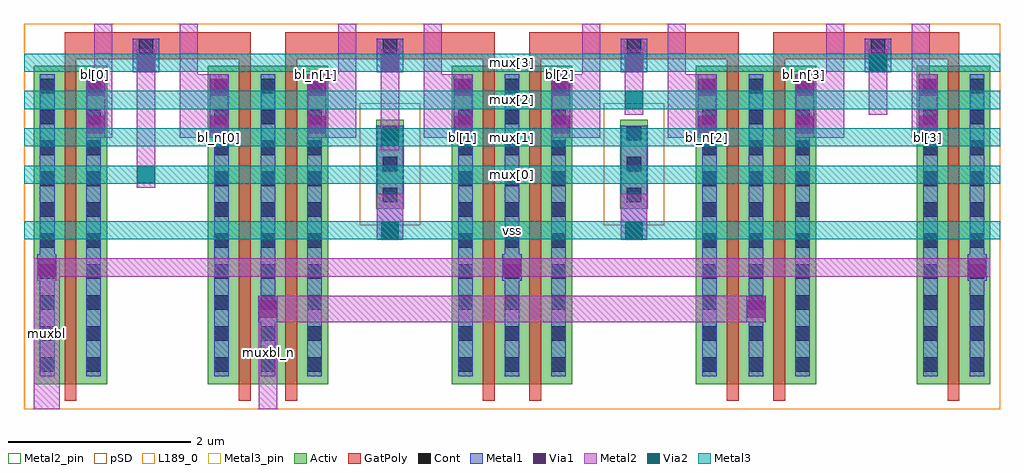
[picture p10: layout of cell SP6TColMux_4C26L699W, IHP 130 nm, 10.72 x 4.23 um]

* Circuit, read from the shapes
.subckt SP6TColMux_4C26L699W bl[0] bl[1] bl[2] bl[3] bl_n[0] bl_n[1] bl_n[2] bl_n[3] mux[0] mux[1] mux[2] mux[3] muxbl muxbl_n vss
XM1 bl[0] mux[0] muxbl vss sg13_lv_nmos w=3.5u l=0.13u
XM2 muxbl_n mux[0] bl_n[0] vss sg13_lv_nmos w=3.5u l=0.13u
XM3 bl_n[1] mux[1] muxbl_n vss sg13_lv_nmos w=3.5u l=0.13u
XM4 muxbl mux[1] bl[1] vss sg13_lv_nmos w=3.5u l=0.13u
XM5 bl[2] mux[2] muxbl vss sg13_lv_nmos w=3.5u l=0.13u
XM6 muxbl_n mux[2] bl_n[2] vss sg13_lv_nmos w=3.5u l=0.13u
XM7 bl_n[3] mux[3] muxbl_n vss sg13_lv_nmos w=3.5u l=0.13u
XM8 muxbl mux[3] bl[3] vss sg13_lv_nmos w=3.5u l=0.13u
.ends

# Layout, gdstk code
import gdstk
lib = gdstk.Library(unit=1e-6, precision=1e-09)
def R(c, l, rs):  # rectangles x0, y0, x1, y1
    for r in rs: c.add(gdstk.rectangle(r[:2], r[2:], *l))
def A(c, l, x, y, w, h, nx, ny, dx, dy):  # array of equal rectangles
    R(c, l, [(x+i*dx, y+j*dy, x+i*dx+w, y+j*dy+h) for i in range(nx) for j in range(ny)])
def P(c, l, *ps):  # polygons
    for p in ps: c.add(gdstk.Polygon(p, *l))
Activ = (1, 0)
GatPoly = (5, 0)
Cont = (6, 0)
Metal1 = (8, 0)
Metal2 = (10, 0)
Metal2_pin = (10, 2)
pSD = (14, 0)
Via1 = (19, 0)
Via2 = (29, 0)
Metal3 = (30, 0)
Metal3_pin = (30, 2)
L189_0 = (189, 0)

sp6tcolmux_4c26l699w = lib.new_cell('SP6TColMux_4C26L699W')
A(sp6tcolmux_4c26l699w, Activ, 2.02, 0.27, 1.32, 3.5, 3, 1, 2.68, 0)
R(sp6tcolmux_4c26l699w, Activ, [(0.105,0.27,0.915,3.77), (9.805,0.27,10.615,3.77), (3.87,2.2,4.17,3.18), (6.55,2.2,6.85,3.18)])
P(sp6tcolmux_4c26l699w, GatPoly, [(0.445,0.09),(0.445,4.14),(2.49,4.14),(2.49,0.09),(2.36,0.09),(2.36,3.84),(0.575,3.84),(0.575,0.09)],
  [(8.23,0.09),(8.23,4.14),(10.275,4.14),(10.275,0.09),(10.145,0.09),(10.145,3.84),(8.36,3.84),(8.36,0.09)],
  [(2.87,0.09),(2.87,4.14),(5.17,4.14),(5.17,0.09),(5.04,0.09),(5.04,3.84),(3,3.84),(3,0.09)],
  [(5.55,0.09),(5.55,4.14),(7.85,4.14),(7.85,0.09),(7.72,0.09),(7.72,3.84),(5.68,3.84),(5.68,0.09)])
A(sp6tcolmux_4c26l699w, Cont, 0.175, 0.41, 0.16, 0.16, 1, 10, 0, 0.34)
A(sp6tcolmux_4c26l699w, Cont, 0.685, 0.41, 0.16, 0.16, 1, 10, 0, 0.34)
A(sp6tcolmux_4c26l699w, Cont, 2.09, 0.41, 0.16, 0.16, 3, 10, 0.51, 0.34)
A(sp6tcolmux_4c26l699w, Cont, 4.77, 0.41, 0.16, 0.16, 3, 10, 0.51, 0.34)
A(sp6tcolmux_4c26l699w, Cont, 7.45, 0.41, 0.16, 0.16, 3, 10, 0.51, 0.34)
A(sp6tcolmux_4c26l699w, Cont, 9.875, 0.41, 0.16, 0.16, 1, 10, 0, 0.34)
A(sp6tcolmux_4c26l699w, Cont, 10.385, 0.41, 0.16, 0.16, 1, 10, 0, 0.34)
A(sp6tcolmux_4c26l699w, Cont, 3.94, 2.27, 0.16, 0.16, 1, 3, 0, 0.34)
A(sp6tcolmux_4c26l699w, Cont, 6.62, 2.27, 0.16, 0.16, 1, 3, 0, 0.34)
A(sp6tcolmux_4c26l699w, Cont, 1.26, 3.91, 0.16, 0.16, 4, 1, 2.68, 0)
A(sp6tcolmux_4c26l699w, Metal1, 1.195, 3.7, 0.29, 0.37, 4, 1, 2.68, 0)
R(sp6tcolmux_4c26l699w, Metal1, [(3.875,1.86,4.165,3.11), (6.555,1.86,6.845,3.11)])
P(sp6tcolmux_4c26l699w, Metal1, [(0.175,0.36),(0.175,1.41),(0.145,1.41),(0.145,1.7),(0.175,1.7),(0.175,3.68),(0.335,3.68),(0.335,1.7),(0.355,1.7),(0.355,1.41),(0.335,1.41),(0.335,0.36)],
  [(10.385,0.36),(10.385,1.41),(10.365,1.41),(10.365,1.7),(10.385,1.7),(10.385,3.68),(10.545,3.68),(10.545,1.7),(10.575,1.7),(10.575,1.41),(10.545,1.41),(10.545,0.36)],
  [(2.09,0.36),(2.09,2.98),(2.04,2.98),(2.04,3.68),(2.25,3.68),(2.25,0.36)],
  [(4.77,0.36),(4.77,2.98),(4.72,2.98),(4.72,3.68),(4.93,3.68),(4.93,0.36)],
  [(7.45,0.36),(7.45,2.98),(7.4,2.98),(7.4,3.68),(7.61,3.68),(7.61,0.36)],
  [(9.875,0.36),(9.875,2.98),(9.825,2.98),(9.825,3.68),(10.035,3.68),(10.035,0.36)],
  [(5.28,0.36),(5.28,1.41),(5.255,1.41),(5.255,1.7),(5.28,1.7),(5.28,3.68),(5.44,3.68),(5.44,1.7),(5.465,1.7),(5.465,1.41),(5.44,1.41),(5.44,0.36)],
  [(0.685,0.36),(0.685,3.68),(0.895,3.68),(0.895,2.98),(0.845,2.98),(0.845,0.36)],
  [(3.11,0.36),(3.11,3.68),(3.32,3.68),(3.32,2.98),(3.27,2.98),(3.27,0.36)],
  [(5.79,0.36),(5.79,3.68),(6,3.68),(6,2.98),(5.95,2.98),(5.95,0.36)],
  [(8.47,0.36),(8.47,3.68),(8.68,3.68),(8.68,2.98),(8.63,2.98),(8.63,0.36)],
  [(2.6,0.36),(2.6,0.955),(2.575,0.955),(2.575,1.245),(2.6,1.245),(2.6,3.68),(2.76,3.68),(2.76,1.245),(2.785,1.245),(2.785,0.955),(2.76,0.955),(2.76,0.36)],
  [(7.96,0.36),(7.96,0.955),(7.935,0.955),(7.935,1.245),(7.96,1.245),(7.96,3.68),(8.12,3.68),(8.12,1.245),(8.145,1.245),(8.145,0.955),(8.12,0.955),(8.12,0.36)])
R(sp6tcolmux_4c26l699w, Metal2, [(3.875,1.865,4.165,2.365), (6.555,1.865,6.845,2.365), (1.24,2.43,1.44,3.95), (3.92,2.84,4.12,3.95), (6.6,3.23,6.8,3.95), (9.28,3.23,9.48,3.95)])
P(sp6tcolmux_4c26l699w, Metal2, [(0.105,0),(0.105,1.655),(10.615,1.655),(10.615,1.455),(0.395,1.455),(0.395,0)],
  [(3.115,2.98),(3.115,3.68),(3.45,3.68),(3.45,4.23),(3.65,4.23),(3.65,2.98)],
  [(5.795,2.98),(5.795,3.68),(6.13,3.68),(6.13,4.23),(6.33,4.23),(6.33,2.98)],
  [(8.475,2.98),(8.475,3.68),(8.81,3.68),(8.81,4.23),(9.01,4.23),(9.01,2.98)],
  [(9.75,2.98),(9.75,4.23),(9.95,4.23),(9.95,3.68),(10.03,3.68),(10.03,2.98)],
  [(0.69,2.98),(0.69,3.68),(0.77,3.68),(0.77,4.23),(0.97,4.23),(0.97,2.98)],
  [(1.71,2.98),(1.71,4.23),(1.91,4.23),(1.91,3.68),(2.245,3.68),(2.245,2.98)],
  [(4.39,2.98),(4.39,4.23),(4.59,4.23),(4.59,3.68),(4.925,3.68),(4.925,2.98)],
  [(7.07,2.98),(7.07,4.23),(7.27,4.23),(7.27,3.68),(7.605,3.68),(7.605,2.98)],
  [(2.58,0),(2.58,1.245),(8.14,1.245),(8.14,0.955),(2.78,0.955),(2.78,0)])
R(sp6tcolmux_4c26l699w, Metal2_pin, [(0.105,0,0.395,1.655), (2.58,0,2.78,1.245)])
P(sp6tcolmux_4c26l699w, Metal2_pin, [(0.79,2.98),(0.79,3.68),(0.77,3.68),(0.77,4.23),(0.97,4.23),(0.97,2.98)],
  [(1.71,2.98),(1.71,4.23),(1.91,4.23),(1.91,3.68),(2.145,3.68),(2.145,2.98)],
  [(4.39,2.98),(4.39,4.23),(4.59,4.23),(4.59,3.68),(4.825,3.68),(4.825,2.98)],
  [(7.07,2.98),(7.07,4.23),(7.27,4.23),(7.27,3.68),(7.505,3.68),(7.505,2.98)],
  [(3.215,2.98),(3.215,3.68),(3.45,3.68),(3.45,4.23),(3.65,4.23),(3.65,2.98)],
  [(5.895,2.98),(5.895,3.68),(6.13,3.68),(6.13,4.23),(6.33,4.23),(6.33,2.98)],
  [(8.575,2.98),(8.575,3.68),(8.81,3.68),(8.81,4.23),(9.01,4.23),(9.01,2.98)],
  [(9.75,2.98),(9.75,4.23),(9.95,4.23),(9.95,3.68),(9.93,3.68),(9.93,2.98)])
R(sp6tcolmux_4c26l699w, pSD, [(3.69,2.02,4.35,3.36), (6.37,2.02,7.03,3.36)])
A(sp6tcolmux_4c26l699w, Via1, 0.155, 1.46, 0.19, 0.19, 3, 1, 5.11, 0)
A(sp6tcolmux_4c26l699w, Via1, 1.245, 3.71, 0.19, 0.19, 4, 1, 2.68, 0)
R(sp6tcolmux_4c26l699w, Via1, [(2.585,1.005,2.775,1.195), (7.945,1.005,8.135,1.195), (3.925,1.87,4.115,2.06), (6.605,1.87,6.795,2.06), (0.695,3.03,0.885,3.22), (2.05,3.03,2.24,3.22), (3.12,3.03,3.31,3.22), (4.73,3.03,4.92,3.22), (5.8,3.03,5.99,3.22), (7.41,3.03,7.6,3.22), (8.48,3.03,8.67,3.22), (9.835,3.03,10.025,3.22), (0.695,3.44,0.885,3.63), (2.05,3.44,2.24,3.63), (3.12,3.44,3.31,3.63), (4.73,3.44,4.92,3.63), (5.8,3.44,5.99,3.63), (7.41,3.44,7.6,3.63), (8.48,3.44,8.67,3.63), (9.835,3.44,10.025,3.63)])
R(sp6tcolmux_4c26l699w, Via2, [(3.925,1.87,4.115,2.06), (6.605,1.87,6.795,2.06), (1.245,2.48,1.435,2.67), (3.925,2.89,4.115,3.08), (6.605,3.3,6.795,3.49), (9.285,3.71,9.475,3.9)])
A(sp6tcolmux_4c26l699w, Metal3, 0, 2.475, 10.72, 0.2, 1, 4, 0, 0.41)
R(sp6tcolmux_4c26l699w, Metal3, [(0,1.865,10.72,2.065)])
A(sp6tcolmux_4c26l699w, Metal3_pin, 0, 2.475, 10.72, 0.2, 1, 4, 0, 0.41)
R(sp6tcolmux_4c26l699w, Metal3_pin, [(0,1.865,10.72,2.065)])
R(sp6tcolmux_4c26l699w, L189_0, [(0,0,10.72,4.23)])
sp6tcolmux_4c26l699w.add(gdstk.Label('muxbl', (0.25,0.827), layer=10, texttype=25))
sp6tcolmux_4c26l699w.add(gdstk.Label('bl[0]', (0.79,3.68), layer=10, texttype=25))
sp6tcolmux_4c26l699w.add(gdstk.Label('bl_n[0]', (2.145,2.98), layer=10, texttype=25))
sp6tcolmux_4c26l699w.add(gdstk.Label('bl[1]', (4.825,2.98), layer=10, texttype=25))
sp6tcolmux_4c26l699w.add(gdstk.Label('muxbl_n', (2.68,0.622), layer=10, texttype=25))
sp6tcolmux_4c26l699w.add(gdstk.Label('bl_n[2]', (7.505,2.98), layer=10, texttype=25))
sp6tcolmux_4c26l699w.add(gdstk.Label('bl[3]', (9.93,2.98), layer=10, texttype=25))
sp6tcolmux_4c26l699w.add(gdstk.Label('bl_n[1]', (3.215,3.68), layer=10, texttype=25))
sp6tcolmux_4c26l699w.add(gdstk.Label('bl[2]', (5.895,3.68), layer=10, texttype=25))
sp6tcolmux_4c26l699w.add(gdstk.Label('bl_n[3]', (8.575,3.68), layer=10, texttype=25))
sp6tcolmux_4c26l699w.add(gdstk.Label('vss', (5.36,1.965), layer=30, texttype=25))
sp6tcolmux_4c26l699w.add(gdstk.Label('mux[0]', (5.36,2.575), layer=30, texttype=25))
sp6tcolmux_4c26l699w.add(gdstk.Label('mux[1]', (5.36,2.985), layer=30, texttype=25))
sp6tcolmux_4c26l699w.add(gdstk.Label('mux[2]', (5.36,3.395), layer=30, texttype=25))
sp6tcolmux_4c26l699w.add(gdstk.Label('mux[3]', (5.36,3.805), layer=30, texttype=25))

lib.write_gds('SP6TColMux_4C26L699W.gds')
